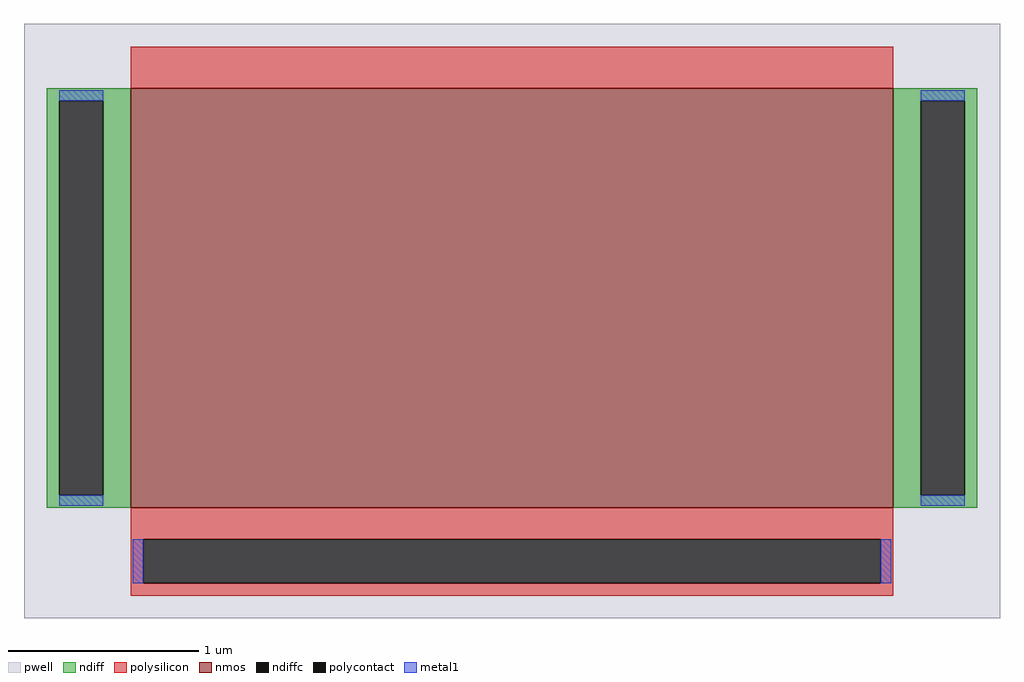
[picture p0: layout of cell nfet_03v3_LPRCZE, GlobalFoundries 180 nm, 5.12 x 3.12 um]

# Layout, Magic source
magic
tech gf180mcuD
magscale 1 10
<< pwell >>
rect -512 -312 512 312
<< nmos >>
rect -400 -196 400 244
<< ndiff >>
rect -488 231 -400 244
rect -488 -183 -475 231
rect -429 -183 -400 231
rect -488 -196 -400 -183
rect 400 231 488 244
rect 400 -183 429 231
rect 475 -183 488 231
rect 400 -196 488 -183
<< ndiffc >>
rect -475 -183 -429 231
rect 429 -183 475 231
<< polysilicon >>
rect -400 244 400 288
rect -400 -229 400 -196
rect -400 -275 -387 -229
rect 387 -275 400 -229
rect -400 -288 400 -275
<< polycontact >>
rect -387 -275 387 -229
<< metal1 >>
rect -475 231 -429 242
rect -475 -194 -429 -183
rect 429 231 475 242
rect 429 -194 475 -183
rect -398 -275 -387 -229
rect 387 -275 398 -229
<< properties >>
string gencell nfet_03v3
string library gf180mcu
string parameters w 2.2 l 4 m 1 nf 1 diffcov 100 polycov 100 guard 0 glc 0 grc 0 gtc 0 gbc 0 tbcov 100 rlcov 100 topc 0 botc 1 poverlap 0 doverlap 1 lmin 0.28 wmin 0.22 class mosfet full_metal 0 compatible {nfet_03v3 nfet_05v0 nfet_06v0 nfet_06v0_nvt}
<< end >>
